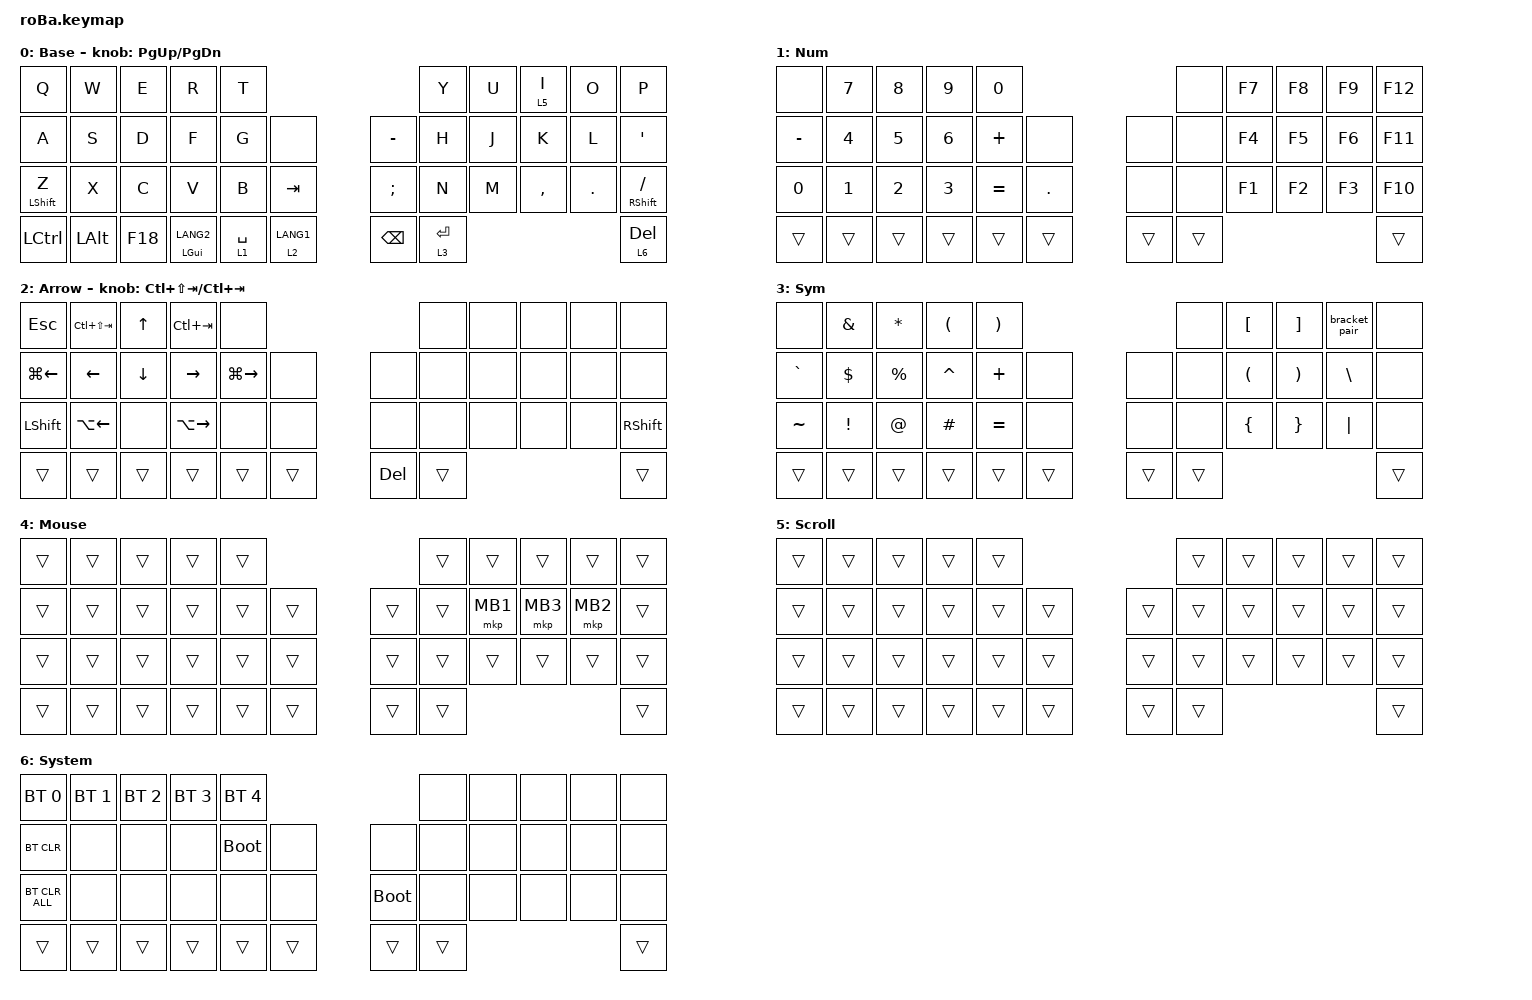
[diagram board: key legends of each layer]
#include <behaviors.dtsi>
#include <dt-bindings/zmk/bt.h>
#include <dt-bindings/zmk/keys.h>
#include <dt-bindings/zmk/pointing.h>

// roBa Mac向け配列
// レイヤー: 0 ベース / 1 数字 / 2 矢印 / 3 記号 / 4 マウス(自動) / 5 スクロール / 6 システム

&mt {
    flavor = "balanced";
    quick-tap-ms = <0>;
};

&trackball {
    automouse-layer = <4>;
    scroll-layers = <5>;
};

/ {
    macros {
        // [ ] を入力してカーソルを間に戻す（かなモードなら「」）
        bracket_pair: bracket_pair {
            compatible = "zmk,behavior-macro";
            #binding-cells = <0>;
            wait-ms = <50>;
            tap-ms = <40>;
            // 日本語入力が「」を処理し終わるのを待ってから←を送る
            bindings = <&macro_tap &kp LBKT &kp RBKT &macro_wait_time 200 &macro_tap &kp LEFT>;
        };
    };

    keymap {
        compatible = "zmk,keymap";

        // 0: ベース
        // 親指（左から）: 英数/⌘  スペース/数字  かな/矢印 | BS  Enter/記号   右下: Del/システム
        // 左下: Ctrl  Opt  F18(Typeless用)
        default_layer {
            display-name = "Base";
            bindings = <
&kp Q             &kp W     &kp E     &kp R            &kp T                                          &kp Y      &kp U  &lt 5 I    &kp O    &kp P
&kp A             &kp S     &kp D     &kp F            &kp G         &none                &kp MINUS   &kp H      &kp J  &kp K      &kp L    &kp SQT
&mt LSHFT Z       &kp X     &kp C     &kp V            &kp B         &kp TAB              &kp SEMI    &kp N      &kp M  &kp COMMA  &kp DOT  &mt RSHFT SLASH
&kp LCTRL         &kp LALT  &kp F18   &mt LGUI LANG2   &lt 1 SPACE   &lt 2 LANG1          &kp BSPC    &lt 3 ENTER                           &lt 6 DEL
            >;

            sensor-bindings = <&inc_dec_kp PG_UP PG_DN>;
        };

        // 1: 数字（スペース長押し）  左手=数字 / 右手=F1〜F12
        NUM {
            display-name = "Num";
            bindings = <
&none      &kp N7  &kp N8  &kp N9  &kp N0                              &none   &kp F7  &kp F8  &kp F9  &kp F12
&kp MINUS  &kp N4  &kp N5  &kp N6  &kp PLUS   &none           &none    &none   &kp F4  &kp F5  &kp F6  &kp F11
&kp N0     &kp N1  &kp N2  &kp N3  &kp EQUAL  &kp DOT         &none    &none   &kp F1  &kp F2  &kp F3  &kp F10
&trans     &trans  &trans  &trans  &trans     &trans          &trans   &trans                          &trans
            >;
        };

        // 2: 矢印（かな長押し）  逆T字の矢印 / 行頭・行末=⌘←→ / 単語移動=⌥←→
        ARROW {
            display-name = "Arrow";
            bindings = <
&kp ESC       &kp LC(LS(TAB))  &kp UP    &kp LC(TAB)   &none                               &none   &none   &none   &none   &none 
&kp LG(LEFT)  &kp LEFT         &kp DOWN  &kp RIGHT     &kp LG(RIGHT)  &none        &none   &none   &none   &none   &none   &none 
&kp LSHFT     &kp LA(LEFT)     &none     &kp LA(RIGHT) &none          &none        &none   &none   &none   &none   &none   &kp RSHFT
&trans        &trans           &trans    &trans        &trans         &trans       &kp DEL &trans                          &trans
            >;

            sensor-bindings = <&inc_dec_kp LC(LS(TAB)) LC(TAB)>;
        };

        // 3: 記号（Enter長押し）  左手=数字レイヤーの同じ位置+Shift / 右手=かっこ
        SYM {
            display-name = "Sym";
            bindings = <
&none      &kp AMPS  &kp STAR   &kp LPAR   &kp RPAR                          &none   &kp LBKT  &kp RBKT  &bracket_pair  &none 
&kp GRAVE  &kp DLLR  &kp PRCNT  &kp CARET  &kp PLUS   &none          &none   &none   &kp LPAR  &kp RPAR  &kp BSLH  &none 
&kp TILDE  &kp EXCL  &kp AT     &kp HASH   &kp EQUAL  &none          &none   &none   &kp LBRC  &kp RBRC  &kp PIPE  &none 
&trans     &trans    &trans     &trans     &trans     &trans         &trans  &trans                                &trans
            >;
        };

        // 4: マウス（ボールを動かすと自動）
        MOUSE {
            display-name = "Mouse";
            bindings = <
&trans  &trans  &trans  &trans  &trans                      &trans  &trans    &trans    &trans    &trans
&trans  &trans  &trans  &trans  &trans  &trans      &trans  &trans  &mkp MB1  &mkp MB3  &mkp MB2  &trans
&trans  &trans  &trans  &trans  &trans  &trans      &trans  &trans  &trans    &trans    &trans    &trans
&trans  &trans  &trans  &trans  &trans  &trans      &trans  &trans                                &trans
            >;
        };

        // 5: スクロール（I長押し＋ボール）
        SCROLL {
            display-name = "Scroll";
            bindings = <
&trans  &trans  &trans  &trans  &trans                      &trans  &trans  &trans  &trans  &trans
&trans  &trans  &trans  &trans  &trans  &trans      &trans  &trans  &trans  &trans  &trans  &trans
&trans  &trans  &trans  &trans  &trans  &trans      &trans  &trans  &trans  &trans  &trans  &trans
&trans  &trans  &trans  &trans  &trans  &trans      &trans  &trans                          &trans
            >;
        };

        // 6: システム（Del長押し）  BT切替・リセット・書き込みモード
        SYSTEM {
            display-name = "System";
            bindings = <
&bt BT_SEL 0      &bt BT_SEL 1  &bt BT_SEL 2  &bt BT_SEL 3  &bt BT_SEL 4                     &none   &none   &none   &none   &none 
&bt BT_CLR        &none         &none         &none         &bootloader   &none        &none   &none   &none   &none   &none   &none 
&bt BT_CLR_ALL    &none         &none         &none         &none         &none   &bootloader  &none   &none   &none   &none   &none 
&trans            &trans        &trans        &trans        &trans        &trans       &trans  &trans                          &trans
            >;
        };
    };
};
